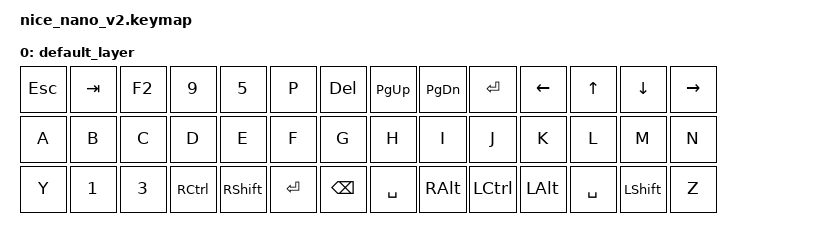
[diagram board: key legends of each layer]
#include <behaviors.dtsi>
#include <dt-bindings/zmk/keys.h>
#include <dt-bindings/zmk/bt.h>

/ {
    keymap {
        compatible = "zmk,keymap";

        default_layer {
// -------------------------------------------------------------------------------------
// | ESC | TAB | F2  | N9  | N5  |  P  | DEL |PG_UP|PG_DN|ENTER|LEFT | UP  |DOWN |RIGHT|
// |  A  |  B  |  C  |  D  |  E  |  F  |  G  |  H  |  I  |  J  |  K  |  L  |  M  |  N  |
// |  Y  | N1  | N3  |RCTRL|RSHFT|ENTER|BSPC |SPACE|RALT |LCTRL|LALT |SPACE|LSHFT|  Z  |
// -------------------------------------------------------------------------------------
            bindings = <
    &kp ESC &kp TAB &kp F2 &kp N9    &kp N5    &kp P     &kp DEL  &kp PG_UP &kp PG_DN &kp ENTER &kp LEFT &kp UP    &kp DOWN  &kp RIGHT
    &kp A   &kp B   &kp C  &kp D     &kp E     &kp F     &kp G    &kp H     &kp I     &kp J     &kp K    &kp L     &kp M     &kp N
    &kp Y   &kp N1  &kp N3 &kp RCTRL &kp RSHFT &kp ENTER &kp BSPC &kp SPACE &kp RALT  &kp LCTRL &kp LALT &kp SPACE &kp LSHFT &kp Z
            >;
        };
        
    };
};
